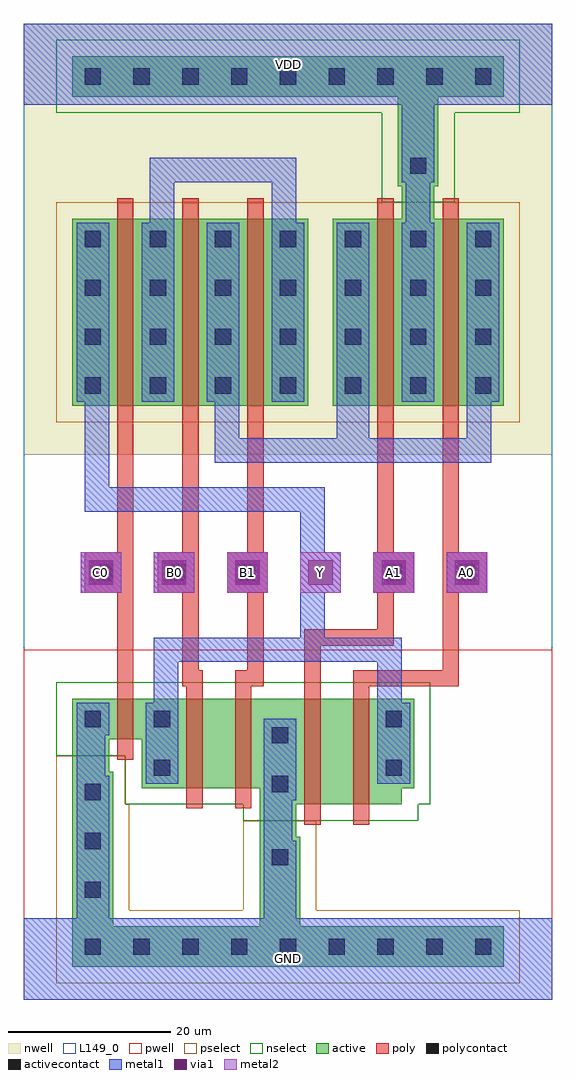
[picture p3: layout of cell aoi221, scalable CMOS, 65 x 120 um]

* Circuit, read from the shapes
.subckt aoi221 A0 A1 B0 B1 C0 GND VDD Y
M1 Y C0 GND GND nfet w=5u l=2u
M2 n1 B0 Y GND nfet w=11u l=2u
M3 GND B1 n1 GND nfet w=11u l=2u
M4 n2 A1 GND GND nfet w=13u l=2u
M5 Y A0 n2 GND nfet w=13u l=2u
M6 n3 C0 Y VDD pfet w=23u l=2u
M7 n4 B0 n3 VDD pfet w=23u l=2u
M8 n3 B1 n4 VDD pfet w=23u l=2u
M9 VDD A1 n4 VDD pfet w=23u l=2u
M10 n4 A0 VDD VDD pfet w=23u l=2u
.ends

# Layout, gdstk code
from math import pi, radians
import gdstk
lib = gdstk.Library(unit=1e-6, precision=1e-09)
def R(c, l, rs):  # rectangles x0, y0, x1, y1
    for r in rs: c.add(gdstk.rectangle(r[:2], r[2:], *l))
def A(c, l, x, y, w, h, nx, ny, dx, dy):  # array of equal rectangles
    R(c, l, [(x+i*dx, y+j*dy, x+i*dx+w, y+j*dy+h) for i in range(nx) for j in range(ny)])
def P(c, l, *ps):  # polygons
    for p in ps: c.add(gdstk.Polygon(p, *l))
pwell = (41, 0)
nwell = (42, 0)
active = (43, 0)
pselect = (44, 0)
nselect = (45, 0)
poly = (46, 0)
polycontact = (47, 0)
activecontact = (48, 0)
metal1 = (49, 0)
via1 = (50, 0)
metal2 = (51, 0)
L149_0 = (149, 0)

via = lib.new_cell('via')
R(via, metal1, [(-2.5,-2.5,2.5,2.5)])
R(via, via1, [(-1.5,-1.5,1.5,1.5)])
R(via, metal2, [(-2.5,-2.5,2.5,2.5)])

aoi221 = lib.new_cell('aoi221')
R(aoi221, pwell, [(0,0,65,43)])
P(aoi221, pwell, [(52.5,18),(52.5,20),(54,20),(54,43),(0,43),(0,26),(8.5,26),(8.5,20),(23,20),(23,18)])
R(aoi221, nwell, [(0,67,41,102), (0,67,65,120), (32,67,65,102)])
R(aoi221, active, [(6,4,59,9), (6,9,11,28), (29,9,34,20), (29,20,33.5,24), (6,28,10.5,32), (6,32,11.5,37), (6,73,35,96), (6,73,11.5,96), (29.5,73,35,96), (38,73,43.5,96), (38,73,59,96), (53.5,73,59,96), (46.5,96,50.5,100), (46,100,51,111), (6,111,59,116)])
P(aoi221, active, [(46.5,24),(46.5,26),(48,26),(48,37),(6,37),(6,32),(14.5,32),(14.5,26),(29,26),(29,24)],
  [(46.5,24),(46.5,26),(48,26),(48,37),(42.5,37),(42.5,24)])
R(aoi221, pselect, [(4,2,61,11), (27,11,36,22), (4,71,37,98), (36,71,61,98)])
P(aoi221, pselect, [(4,11),(13,11),(13,24),(12.5,24),(12.5,30),(4,30)])
R(aoi221, nselect, [(44,98,53,109), (4,109,61,118)])
P(aoi221, nselect, [(48.5,22),(48.5,24),(50,24),(50,39),(4,39),(4,30),(12.5,30),(12.5,24),(27,24),(27,22)])
A(aoi221, poly, 11.5, 70.5, 2, 2.5, 3, 2, 8, 25.5)
A(aoi221, poly, 11.5, 73, 2, 23, 3, 1, 8, 0)
R(aoi221, poly, [(34.5,21.5,36.5,24), (40.5,21.5,42.5,24), (20,23.5,22,26), (26,23.5,28,26), (34.5,24,36.5,37), (40.5,24,42.5,37), (20,26,22,37), (26,26,28,37), (11.5,29.5,13.5,32), (11.5,32,13.5,37), (11.5,37,13.5,39.5), (20,37,22,39.5), (26,37,28,39.5), (34.5,37,36.5,39.5), (40.5,37,42.5,39.5), (7.5,50,12.5,55), (16.5,50,21.5,55), (25,50,30,55), (43,50,48,55), (52,50,57,55), (43.5,70.5,45.5,73), (51.5,70.5,53.5,73), (43.5,73,45.5,96), (51.5,73,53.5,96), (43.5,96,45.5,98.5), (51.5,96,53.5,98.5)])
R(aoi221, polycontact, [(9,51.5,11,53.5), (18,51.5,20,53.5), (26.5,51.5,28.5,53.5), (44.5,51.5,46.5,53.5), (53.5,51.5,55.5,53.5)])
A(aoi221, activecontact, 7.5, 5.5, 2, 2, 9, 2, 6, 107)
A(aoi221, activecontact, 7.5, 12.5, 2, 2, 1, 3, 0, 6)
A(aoi221, activecontact, 7.5, 74.5, 2, 2, 7, 4, 8, 6)
R(aoi221, activecontact, [(30.5,16.5,32.5,18.5), (30.5,25.5,32.5,27.5), (16,27.5,18,29.5), (44.5,27.5,46.5,29.5), (30.5,31.5,32.5,33.5), (7.5,33.5,9.5,35.5), (16,33.5,18,35.5), (44.5,33.5,46.5,35.5), (47.5,101.5,49.5,103.5)])
A(aoi221, metal1, 6.5, 73.5, 4, 22, 7, 1, 8, 0)
R(aoi221, metal1, [(0,0,65,10), (0,0,65,10), (6.5,10,10.5,27.5), (29.5,10,33.5,19.5), (29.5,19.5,33,24.5), (29.5,24.5,33.5,34.5), (15,26.5,19,36.5), (43.5,26.5,47.5,36.5), (6.5,27.5,10,32.5), (6.5,32.5,10.5,36.5), (8,50.5,12,54.5), (17,50.5,21,54.5), (25.5,50.5,29.5,54.5), (43.5,50.5,47.5,54.5), (52.5,50.5,56.5,54.5), (47,95.5,50,100.5), (46.5,100.5,50.5,110), (0,110,65,120), (0,110,65,120)])
A(aoi221, metal2, 7, 50, 5, 5, 6, 1, 9, 0)
R(aoi221, L149_0, [(0,0,65,120)])
aoi221.add(gdstk.FlexPath([(35.5,39.5),(35.5,44.5),(44.5,44.5),(44.5,70.5)], 2, ends="flush", simple_path=True, layer=46, datatype=0))  # poly
aoi221.add(gdstk.FlexPath([(12.5,70.5),(12.5,39.5)], 2, ends="flush", simple_path=True, layer=46, datatype=0))  # poly
aoi221.add(gdstk.FlexPath([(20.5,70.5),(20.5,39.5),(22,39.5)], 2, ends="flush", simple_path=True, layer=46, datatype=0))  # poly
aoi221.add(gdstk.FlexPath([(26,39.5),(28.5,39.5),(28.5,70.5)], 2, ends="flush", simple_path=True, layer=46, datatype=0))  # poly
aoi221.add(gdstk.FlexPath([(52.5,70.5),(52.5,39.5),(40.5,39.5)], 2, ends="flush", simple_path=True, layer=46, datatype=0))  # poly
aoi221.add(gdstk.FlexPath([(32,95.5),(32,102),(17,102),(17,95.5)], 3, ends="flush", simple_path=True, layer=49, datatype=0))  # metal1
aoi221.add(gdstk.FlexPath([(9,73.5),(9,61.5),(35.5,61.5),(35.5,55)], 3, ends="flush", simple_path=True, layer=49, datatype=0))  # metal1
aoi221.add(gdstk.FlexPath([(35.5,50),(35.5,44.5)], 3, ends="flush", simple_path=True, layer=49, datatype=0))  # metal1
aoi221.add(gdstk.FlexPath([(40,73.5),(40,67.5),(25,67.5),(25,73.5)], 3, ends="flush", simple_path=True, layer=49, datatype=0))  # metal1
aoi221.add(gdstk.FlexPath([(41,73.5),(41,67.5),(56,67.5),(56,73.5)], 3, ends="flush", simple_path=True, layer=49, datatype=0))  # metal1
aoi221.add(gdstk.FlexPath([(17.5,36.5),(17.5,43),(45,43),(45,36.5)], 3, ends="flush", simple_path=True, layer=49, datatype=0))  # metal1
aoi221.add(gdstk.Reference(via, (18.5,52.5), rotation=pi, x_reflection=True))
aoi221.add(gdstk.Reference(via, (54.5,52.5), rotation=pi, x_reflection=True))
aoi221.add(gdstk.Reference(via, (45.5,52.5), rotation=pi, x_reflection=True))
aoi221.add(gdstk.Reference(via, (36.5,52.5), rotation=pi, x_reflection=True))
aoi221.add(gdstk.Reference(via, (27.5,52.5), rotation=pi, x_reflection=True))
aoi221.add(gdstk.Reference(via, (9.5,52.5), rotation=pi, x_reflection=True))
aoi221.add(gdstk.Label('GND', (32.5,5), layer=2, texttype=0))
aoi221.add(gdstk.Label('VDD', (32.5,115), layer=2, texttype=0))
aoi221.add(gdstk.Label('A1', (45.5,52.5), layer=3, texttype=0))
aoi221.add(gdstk.Label('A0', (54.5,52.5), layer=3, texttype=0))
aoi221.add(gdstk.Label('C0', (9.5,52.5), layer=3, texttype=0))
aoi221.add(gdstk.Label('B1', (27.5,52.5), layer=3, texttype=0))
aoi221.add(gdstk.Label('B0', (18.5,52.5), layer=3, texttype=0))
aoi221.add(gdstk.Label('Y', (36.5,52.5), layer=3, texttype=0))
aoi221.add(gdstk.Label('GND', (32.5,5), layer=2, texttype=0))
aoi221.add(gdstk.Label('VDD', (32.5,115), layer=2, texttype=0))
aoi221.add(gdstk.Label('A1', (45.5,52.5), layer=3, texttype=0))
aoi221.add(gdstk.Label('A0', (54.5,52.5), layer=3, texttype=0))
aoi221.add(gdstk.Label('C0', (9.5,52.5), layer=3, texttype=0))
aoi221.add(gdstk.Label('B1', (27.5,52.5), layer=3, texttype=0))
aoi221.add(gdstk.Label('B0', (18.5,52.5), layer=3, texttype=0))
aoi221.add(gdstk.Label('Y', (36.5,52.5), layer=3, texttype=0))

lib.write_gds('aoi221.gds')
